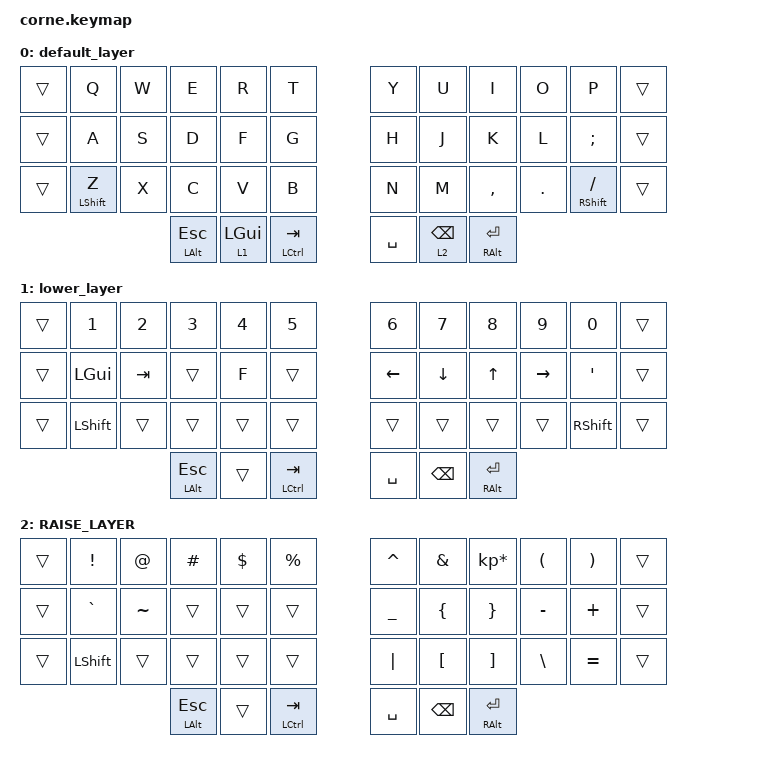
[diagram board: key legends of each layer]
/*
 * Copyright (c) 2020 The ZMK Contributors
 *
 * SPDX-License-Identifier:MIT
 */

#include <behaviors.dtsi>
#include <dt-bindings/zmk/keys.h>
#include <dt-bindings/zmk/bt.h>

&mt {
  flavor = "hold-preferred";
  tapping_term_ms = <150>;
  quick_tap_ms = <200>;
};

&lt {
  flavor = "hold-preferred";
  tapping_term_ms = <150>;
  quick_tap_ms = <200>;
};

/{
 keymap{
  compatible = "zmk,keymap";
    default_layer{
      bindings = <
    &trans &kp Q &kp W &kp E &kp R &kp T &kp Y &kp U &kp I     &kp O &kp P &trans
    &trans &kp A &kp S &kp D &kp F &kp G &kp H &kp J &kp K     &kp L &kp SEMI &trans
    &trans &mt LSHFT Z &kp X &kp C &kp V &kp B &kp N &kp M &kp COMMA &kp DOT &mt RSHFT FSLH &trans
    &mt LALT ESC &lt 1 LGUI &mt LCTRL TAB &kp SPACE &lt 2 BSPC &mt RALT RET
      >;
    };

    lower_layer {
      bindings = <
    &trans &kp N1  &kp N2  &kp N3  &kp N4  &kp N5   &kp N6 &kp N7 &kp N8 &kp N9 &kp N0 &trans
    &trans &kp LGUI &kp TAB &trans &kp F &trans &kp LEFT &kp DOWN &kp UP &kp RIGHT &kp SQT &trans
    &trans &kp LSHFT &trans &trans &trans &trans  &trans &trans &trans &trans &kp RSHFT &trans
    &mt LALT ESC &trans &mt LCTRL TAB &kp SPACE &kp BSPC &mt RALT RET
      >;
    };

    RAISE_LAYER {
      bindings = <
    &trans &kp EXCL &kp AT &kp HASH &kp DLLR &kp PRCNT &kp CARET &kp AMPS &kp KP_MULTIPLY &kp LPAR &kp RPAR &trans
    &trans &kp GRAVE &kp TILDE &trans &trans &trans &kp UNDER &kp LBRC &kp RBRC  &kp MINUS &kp PLUS &trans
    &trans &kp LSHFT &trans &trans &trans &trans &kp PIPE &kp LBKT &kp RBKT  &kp BSLH &kp EQUAL &trans
    &mt LALT ESC &trans &mt LCTRL TAB &kp SPACE &kp BSPC &mt RALT RET
      >;
    };
  };
};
